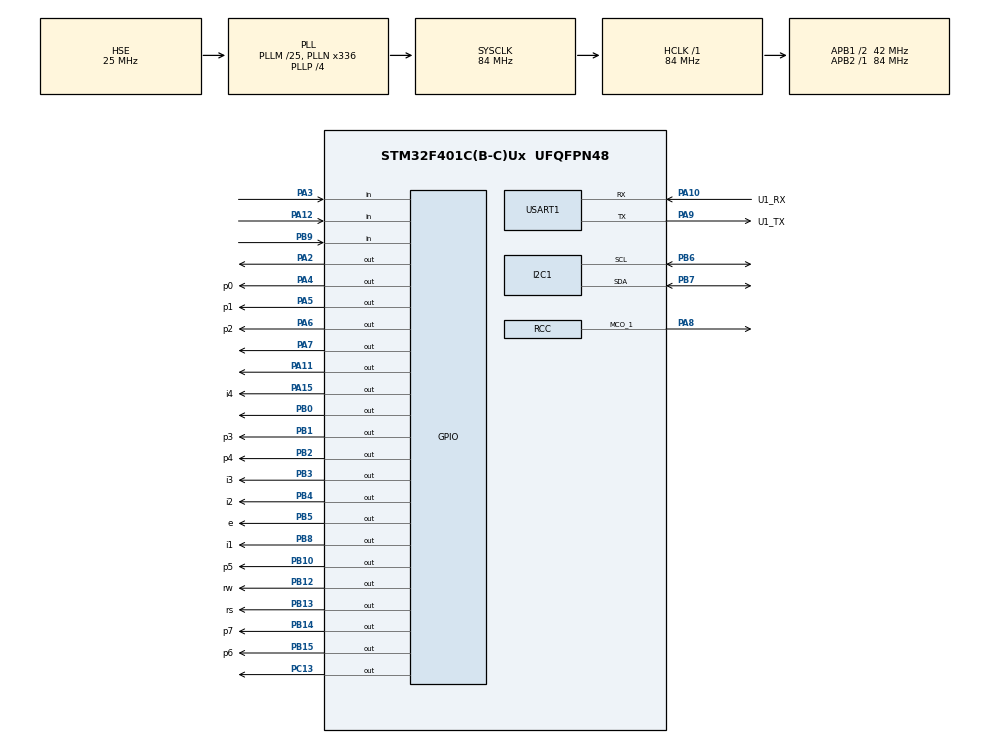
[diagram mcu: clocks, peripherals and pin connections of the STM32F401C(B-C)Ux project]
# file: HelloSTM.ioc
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Mcu.Family=STM32F4
Mcu.Name=STM32F401C(B-C)Ux
Mcu.Package=UFQFPN48
NVIC.PriorityGroup=NVIC_PRIORITYGROUP_4
NVIC.TIM3_IRQn=true\:0\:0\:false\:false\:true\:true\:true
NVIC.USART1_IRQn=true\:0\:0\:false\:false\:true\:true\:true
PA10.GPIO_Label=U1_RX
PA10.Mode=Asynchronous
PA10.Signal=USART1_RX
PA11.GPIO_ModeDefaultOutputPP=GPIO_MODE_OUTPUT_PP
PA11.GPIO_PuPd=GPIO_NOPULL
PA11.GPIO_Speed=GPIO_SPEED_FREQ_LOW
PA11.PinState=GPIO_PIN_RESET
PA11.Signal=GPIO_Output
PA12.Signal=GPIO_Input
PA13.Mode=Serial_Wire
PA13.Signal=SYS_JTMS-SWDIO
PA14.Mode=Serial_Wire
PA14.Signal=SYS_JTCK-SWCLK
PA15.GPIO_Label=i4
PA15.Signal=GPIO_Output
PA2.Signal=GPIO_Output
PA3.Signal=GPIO_Input
PA4.GPIO_Label=p0
PA4.Signal=GPIO_Output
PA5.GPIO_Label=p1
PA5.Signal=GPIO_Output
PA6.GPIO_Label=p2
PA6.Signal=GPIO_Output
PA7.Signal=GPIO_Output
PA8.Mode=Clock-out-1
PA8.Signal=RCC_MCO_1
PA9.GPIO_Label=U1_TX
PA9.Mode=Asynchronous
PA9.Signal=USART1_TX
PB0.Signal=GPIO_Output
PB1.GPIO_Label=p3
PB1.Signal=GPIO_Output
PB10.GPIO_Label=p5
PB10.Signal=GPIO_Output
PB12.GPIO_Label=rw
PB12.Signal=GPIO_Output
PB13.GPIO_Label=rs
PB13.Signal=GPIO_Output
PB14.GPIO_Label=p7
PB14.Signal=GPIO_Output
PB15.GPIO_Label=p6
PB15.Signal=GPIO_Output
PB2.GPIO_Label=p4
PB2.Signal=GPIO_Output
PB3.GPIO_Label=i3
PB3.Signal=GPIO_Output
PB4.GPIO_Label=i2
PB4.Signal=GPIO_Output
PB5.GPIO_Label=e
PB5.Signal=GPIO_Output
PB6.Mode=I2C
PB6.Signal=I2C1_SCL
PB7.Mode=I2C
PB7.Signal=I2C1_SDA
PB8.GPIO_Label=i1
PB8.Signal=GPIO_Output
PB9.GPIO_Mode=GPIO_MODE_INPUT
PB9.GPIO_PuPd=GPIO_NOPULL
PB9.Signal=GPIO_Input
PC13-ANTI_TAMP.Signal=GPIO_Output
PH0\ -\ OSC_IN.Mode=HSE-External-Oscillator
PH0\ -\ OSC_IN.Signal=RCC_OSC_IN
PH1\ -\ OSC_OUT.Mode=HSE-External-Oscillator
PH1\ -\ OSC_OUT.Signal=RCC_OSC_OUT
ProjectManager.HeapSize=0x3000
ProjectManager.StackSize=0x400
ProjectManager.TargetToolchain=SW4STM32
RCC.48MHZClocksFreq_Value=84000000
RCC.AHBFreq_Value=84000000
RCC.APB1CLKDivider=RCC_HCLK_DIV2
RCC.APB1Freq_Value=42000000
RCC.APB1TimFreq_Value=84000000
RCC.APB2Freq_Value=84000000
RCC.APB2TimFreq_Value=84000000
RCC.CortexFreq_Value=84000000
RCC.HCLKFreq_Value=84000000
RCC.HSE_VALUE=25000000
RCC.HSI_VALUE=16000000
RCC.LSE_VALUE=32768
RCC.PLLM=25
RCC.PLLN=336
RCC.PLLP=RCC_PLLP_DIV4
RCC.PLLSourceVirtual=RCC_PLLSOURCE_HSE
RCC.RCC_MCO1Source=RCC_MCO1SOURCE_PLLCLK
RCC.RCC_MCODiv1=RCC_MCODIV_5
RCC.RCC_RTC_Clock_Source=RCC_RTCCLKSOURCE_LSI
RCC.RCC_RTC_Clock_SourceVirtual=RCC_RTCCLKSOURCE_LSE
RCC.RCC_RTC_Clock_Source_FROM_HSE=RCC_RTCCLKSOURCE_HSE_DIV25
RCC.SYSCLKFreq_VALUE=84000000
RCC.SYSCLKSource=RCC_SYSCLKSOURCE_PLLCLK
RCC.VCOOutputFreq_Value=336000000
TIM3.Period=240-1
TIM3.Prescaler=84-1
USART1.VirtualMode=VM_ASYNC
VP_TIM3_VS_ClockSourceINT.Mode=Internal
board=custom

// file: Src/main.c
/* USER CODE BEGIN Header */
/**
  ******************************************************************************
  * @file           : main.c
  * @brief          : Main program body
  ******************************************************************************
  * @attention
  *
  * <h2><center>&copy; Copyright (c) 2020 STMicroelectronics.
  * All rights reserved.</center></h2>
  *
  * This software component is licensed by ST under BSD 3-Clause license,
  * the "License"; You may not use this file except in compliance with the
  * License. You may obtain a copy of the License at:
  *                        opensource.org/licenses/BSD-3-Clause
  *
  ******************************************************************************
  */
/* USER CODE END Header */

#include "main.h"
#include "i2c.h"
#include "tim.h"
#include "usart.h"
#include "gpio.h"

/* USER CODE BEGIN Includes */
#include "stdio.h"
#include "LCD1602.h"
#include "mpu6050.h"

#pragma clang diagnostic push
#pragma clang diagnostic ignored "-Wmissing-noreturn"

/* USER CODE END Includes */

/* USER CODE BEGIN PTD */
void SystemClock_Config(void);
/* USER CODE END PTD */

void SystemClock_Config(void);

/* USER CODE BEGIN 0 */
float pitch, roll, yaw;        //欧拉角

void writeMotor(unsigned char CMD) {
    HAL_GPIO_WritePin(i1_GPIO_Port, i1_Pin, GetBit(CMD, 0));
    HAL_GPIO_WritePin(i2_GPIO_Port, i2_Pin, GetBit(CMD, 1));
    HAL_GPIO_WritePin(i3_GPIO_Port, i3_Pin, GetBit(CMD, 2));
    HAL_GPIO_WritePin(i4_GPIO_Port, i4_Pin, GetBit(CMD, 3));
}

void motor_delay(uint32_t delay) {
    uint32_t i;
    for (i = 1; i < delay; i++) {
        asm("nop");
    }
}

/**
 * 逆时针
 * @param circle
 * @param delay
 */
void motor_cw(uint32_t circle, uint32_t delay)//circle循环数 delay控制转速
{
    uint32_t i, j;
    j = 6000;
    for (i = 0; i <= circle; i++) {
        writeMotor(8);
        motor_delay(j);
        writeMotor(12);
        motor_delay(j);
        writeMotor(4);
        motor_delay(j);
        writeMotor(6);
        motor_delay(j);
        writeMotor(2);
        motor_delay(j);
        writeMotor(3);
        motor_delay(j);
        writeMotor(1);
        motor_delay(j);
        writeMotor(9);
        motor_delay(j);
        motor_delay(delay);//这个控制转速
    }
}

/**
 * 顺时针
 * @param circle
 * @param delay
 */
void motor_ccw(uint32_t circle, uint32_t delay) {
    uint32_t i, j;
    j = 6000;
    for (i = 0; i <= circle; i++) {
        writeMotor(9);
        motor_delay(j);
        writeMotor(1);
        motor_delay(j);
        writeMotor(3);
        motor_delay(j);
        writeMotor(2);
        motor_delay(j);
        writeMotor(6);
        motor_delay(j);
        writeMotor(4);
        motor_delay(j);
        writeMotor(12);
        motor_delay(j);
        writeMotor(8);
        motor_delay(j);
        motor_delay(delay);//这个控制转速
    }
}

/* USER CODE END 0 */

int main(void) {
    /* USER CODE BEGIN 1 */
    unsigned char rev_flag = 0;
    /* USER CODE END 1 */

    /* MCU Configuration--------------------------------------------------------*/

    /* Reset of all peripherals, Initializes the Flash interface and the Systick. */
    HAL_Init();

    /* Configure the system clock */
    SystemClock_Config();

    /* Initialize all configured peripherals */
    MX_GPIO_Init();
    MX_TIM3_Init();
    MX_USART1_UART_Init();
    MX_I2C1_Init();
    /* USER CODE BEGIN 2 */
    HAL_TIM_Base_Start_IT(&htim3);
    //HAL_GPIO_WritePin(GPIOC, GPIO_PIN_13, GPIO_PIN_SET);

    HAL_Delay(10);
    LCD1602_Init();

    MPU_6050_Init_Ex();

    motor_ccw(510, 1);
    /* USER CODE END 2 */

    /* Infinite loop */
    while (1) {

        /* USER CODE BEGIN 3 */

//        if (HAL_GPIO_ReadPin(GPIOB, GPIO_PIN_9) == GPIO_PIN_RESET) {
//            /* Key按键按下查询 */
//            HAL_Delay(3000);
//            HAL_GPIO_WritePin(GPIOC, GPIO_PIN_13, GPIO_PIN_RESET);
//            HAL_Delay(3000);
//        } else {
//            HAL_GPIO_WritePin(GPIOC, GPIO_PIN_13, GPIO_PIN_SET);
//        }

        //uint8_t TxData[12] = "Hello World\n";
        //HAL_UART_Transmit(&huart1, TxData, 12, 20);

        HAL_Delay(10);
        if ((rev_flag = mpu_dmp_get_data(&pitch, &roll, &yaw)) == 0) {

            int pi = (int) (pitch * 10);
            int ro = (int) (roll * 10);
            int ya = (int) (yaw * 10);

            LCD1602_ClearScreen();
            LCD1602_Show_Str(0, 0, "Mpu6050");
            LCD1602_Show_Str_Printf(0, 1, "%d %d %d", pi, ro, ya);
        } else {
            printf("rev_flag %d\n", rev_flag);
            HAL_Delay(100);//读取频率不能太慢 防止FIFO溢出
        }
    }
    /* USER CODE END 3 */
}

void SystemClock_Config(void) {
    RCC_OscInitTypeDef RCC_OscInitStruct = {0};
    RCC_ClkInitTypeDef RCC_ClkInitStruct = {0};

    /** Configure the main internal regulator output voltage
    */
    __HAL_RCC_PWR_CLK_ENABLE();
    __HAL_PWR_VOLTAGESCALING_CONFIG(PWR_REGULATOR_VOLTAGE_SCALE2);
    /** Initializes the CPU, AHB and APB busses clocks
    */
    RCC_OscInitStruct.OscillatorType = RCC_OSCILLATORTYPE_HSE;
    RCC_OscInitStruct.HSEState = RCC_HSE_ON;
    RCC_OscInitStruct.PLL.PLLState = RCC_PLL_ON;
    RCC_OscInitStruct.PLL.PLLSource = RCC_PLLSOURCE_HSE;
    RCC_OscInitStruct.PLL.PLLM = 25;
    RCC_OscInitStruct.PLL.PLLN = 336;
    RCC_OscInitStruct.PLL.PLLP = RCC_PLLP_DIV4;
    RCC_OscInitStruct.PLL.PLLQ = 4;
    if (HAL_RCC_OscConfig(&RCC_OscInitStruct) != HAL_OK) {
        Error_Handler();
    }
    /** Initializes the CPU, AHB and APB busses clocks
    */
    RCC_ClkInitStruct.ClockType = RCC_CLOCKTYPE_HCLK | RCC_CLOCKTYPE_SYSCLK
                                  | RCC_CLOCKTYPE_PCLK1 | RCC_CLOCKTYPE_PCLK2;
    RCC_ClkInitStruct.SYSCLKSource = RCC_SYSCLKSOURCE_PLLCLK;
    RCC_ClkInitStruct.AHBCLKDivider = RCC_SYSCLK_DIV1;
    RCC_ClkInitStruct.APB1CLKDivider = RCC_HCLK_DIV2;
    RCC_ClkInitStruct.APB2CLKDivider = RCC_HCLK_DIV1;

    if (HAL_RCC_ClockConfig(&RCC_ClkInitStruct, FLASH_LATENCY_2) != HAL_OK) {
        Error_Handler();
    }
    HAL_RCC_MCOConfig(RCC_MCO1, RCC_MCO1SOURCE_PLLCLK, RCC_MCODIV_5);
}

/* USER CODE BEGIN 4 */

// -----------------------

/**
  * @brief GPIO EXTI callback
  * @param None
  * @retval None
  */
void HAL_GPIO_EXTI_Callback(uint16_t GPIO_Pin) {
    /* Clear Wake Up Flag */
}

void HAL_TIM_PeriodElapsedCallback(TIM_HandleTypeDef *htim) {

    // 1ms
    if (htim->Instance == htim3.Instance) {
        //编写回调逻辑，即定时器1定时1MS后的逻辑
        static int i = 0, state = 0, is = 0, k = 0;

        if (i < 100) i++;
        else {
            i = 0;
            if (k == 0) {
                if (is < 100) is++;
                else k = 1;
            } else {
                if (is > 0) is--;
                else k = 0;
            }
        }

        if (i <= is) {
            state = 0;
        } else {
            state = 1;
        }

        if (state == 0) {
            HAL_GPIO_WritePin(GPIOC, GPIO_PIN_13, GPIO_PIN_SET);
            HAL_GPIO_WritePin(GPIOA, GPIO_PIN_7, GPIO_PIN_SET);
        } else {
            HAL_GPIO_WritePin(GPIOC, GPIO_PIN_13, GPIO_PIN_RESET);
            HAL_GPIO_WritePin(GPIOA, GPIO_PIN_7, GPIO_PIN_RESET);
        }

    }
}
// -----------------------

/* USER CODE END 4 */

void Error_Handler(void) {
}

/************************ (C) COPYRIGHT STMicroelectronics *****END OF FILE****/
